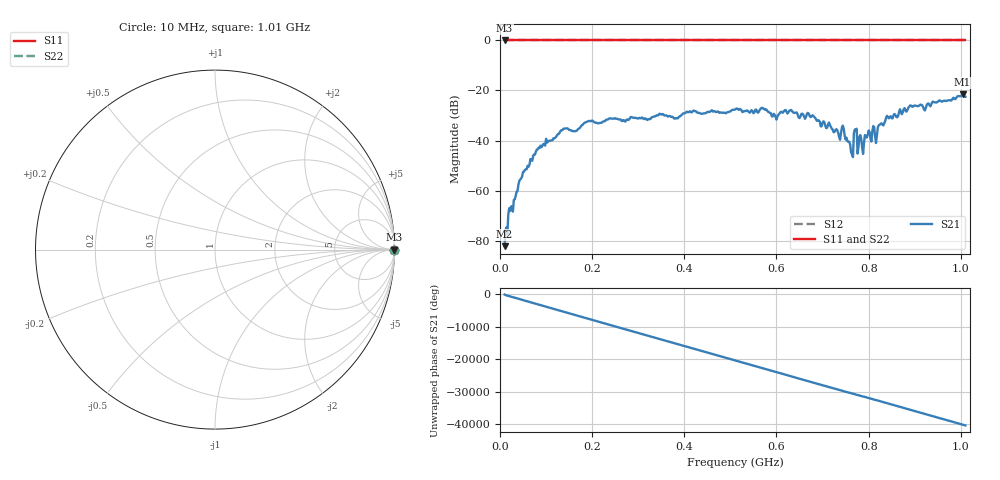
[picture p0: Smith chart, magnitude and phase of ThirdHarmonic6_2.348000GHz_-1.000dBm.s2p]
! 8/17/2025 3:31:14 AM
! C:\ANRITSUVNA\TEMP\TEMP.S2P
! CHANNEL.1
! TR.MEASUREMENT
! RAW.DATA
! RF.CORRECTION.OFF
! AVERAGING.OFF
! IF.BANDWIDTH: 5KHZ
! SWEEPTYPE:  FREQ.SWEEP(Linear)
! Reference Plane Port Info
! PORT:  PORT1  PORT2
! DISTANCE:  0  m  0  m
! TIME:  0  s  0  s
! PHASE.OFFSET:  0  deg.  0  deg.
! LOSS:  0  dB  0  dB
! REF.LOSS:  0  dB  0  dB
! REF.FREQ:  0  Hz  0  Hz
! Power Info
! POWER:  -20  dBm  -20  dBm
! EFF.POWER:  -20  dBm  -20  dBm
! SOURCE.ATTEN:  0  dB  0  dB
! TEST.ATTEN:  0  dB  0  dB
# GHZ S RI R 50.0
! FREQ.GHZ  S11RE  S11IM  S21RE  S21IM  S12RE  S12IM  S22RE  S22IM
!; PortSelection: Port_12
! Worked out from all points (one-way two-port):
!   501 points, 10 MHz to 1.01 GHz, reference 50 ohm
!   highest |S21| = -21.53 dB at 1.004 GHz (marker M1); lowest = -82.2 dB at 10 MHz (marker M2)
!   lowest |S11| = 0.0 dB at 10 MHz (marker M3)
!   |S11| at or under -10 dB: nowhere
!   |S22| runs from 0.0 to 0.0 dB; largest |S21 - S12| = 1.1
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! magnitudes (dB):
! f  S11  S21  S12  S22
! 10 MHz  0.0  -82.2  0.0  0.0
! 22 MHz  0.0  -68.2  0.0  0.0
! 46 MHz  0.0  -55.1  0.0  0.0
! 80 MHz  0.0  -43.6  0.0  0.0
! 136 MHz  0.0  -35.8  0.0  0.0
! 178 MHz  0.0  -33.9  0.0  0.0
! 344 MHz  0.0  -29.8  0.0  0.0
! 382 MHz  0.0  -31.0  0.0  0.0
! 408 MHz  0.0  -28.7  0.0  0.0
! 510 MHz  0.0  -27.6  0.0  0.0
! 678 MHz  0.0  -29.9  0.0  0.0
! 736 MHz  0.0  -38.6  0.0  0.0
! 744 MHz  0.0  -34.0  0.0  0.0
! 762 MHz  0.0  -44.8  0.0  0.0
! 770 MHz  0.0  -35.6  0.0  0.0
! 788 MHz  0.0  -45.4  0.0  0.0
! 796 MHz  0.0  -38.8  0.0  0.0
! 818 MHz  0.0  -37.8  0.0  0.0
! 824 MHz  0.0  -33.7  0.0  0.0
! 844 MHz  0.0  -31.1  0.0  0.0
! 1.004 GHz  0.0  -21.5  0.0  0.0
! 1.01 GHz  0.0  -22.5  0.0  0.0
